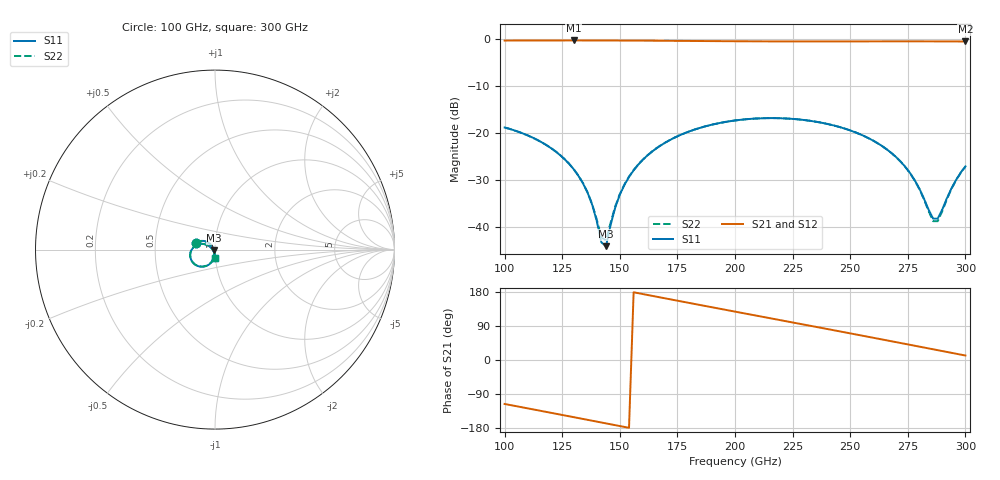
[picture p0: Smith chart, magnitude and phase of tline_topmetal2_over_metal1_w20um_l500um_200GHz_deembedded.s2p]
! Created with skrf 2.2.0 (http://scikit-rf.org).
# GHz S DB R 50.0
! Port[1] = P1
! Port[2] = P2
!freq dBS11 angS11 dBS21 angS21 dBS12 angS12 dBS22 angS22
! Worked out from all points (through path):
!   101 points, 100 GHz to 300 GHz, reference 50 ohm
!   highest |S21| = -0.30 dB at 130 GHz (marker M1); lowest = -0.5 dB at 300 GHz (marker M2)
!   group delay of S21, straight-line fit = 3.22 ps
!   lowest |S11| = -44.0 dB at 144 GHz (marker M3), VSWR 1.01, Z = 49.5 - j0.396 ohm
!   |S11| at or under -10 dB: start of sweep to end of sweep
!   |S22| runs from -42.8 to -16.8 dB; largest |S21 - S12| = 1.6e-14
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100  -18.80 160.4  -0.32 -116.0  -0.32 -116.0  -18.80 160.8
118  -22.50 140.9  -0.31 -136.9  -0.31 -136.9  -22.50 141.7
130  -27.69 130.5  -0.30 -150.9  -0.30 -150.9  -27.67 131.9
134  -30.66 129.1  -0.30 -155.5  -0.30 -155.5  -30.62 131.1
138  -35.22 132.5  -0.31 -160.2  -0.31 -160.2  -35.07 135.8
142  -43.22 165.0  -0.31 -164.9  -0.31 -164.9  -42.21 169.7
144  -44.03 -140.5  -0.31 -167.3  -0.31 -167.3  -42.76 -143.2
148  -35.83 -99.5  -0.32 -171.9  -0.32 -171.9  -35.59 -102.8
152  -31.00 -95.1  -0.33 -176.6  -0.33 -176.6  -30.91 -97.1
158  -26.70 -97.4  -0.34 176.3  -0.34 176.3  -26.66 -98.7
168  -22.54 -106.3  -0.37 164.7  -0.37 164.7  -22.52 -107.0
182  -19.32 -120.8  -0.41 148.4  -0.41 148.4  -19.31 -121.3
200  -17.32 -140.2  -0.47 127.7  -0.47 127.7  -17.31 -140.5
218  -16.82 -159.6  -0.51 107.1  -0.51 107.1  -16.82 -159.8
234  -17.49 -176.5  -0.51 88.7  -0.51 88.7  -17.49 -176.8
254  -20.18 163.2  -0.50 65.7  -0.50 65.7  -20.18 162.9
268  -24.27 151.8  -0.50 49.4  -0.50 49.4  -24.28 151.2
278  -30.01 151.4  -0.50 37.7  -0.50 37.7  -30.07 150.2
286  -38.18 -165.1  -0.50 28.3  -0.50 28.3  -38.72 -166.2
288  -38.16 -136.3  -0.50 25.9  -0.50 25.9  -38.73 -135.4
294  -31.69 -96.1  -0.51 18.9  -0.51 18.9  -31.83 -94.3
300  -27.07 -91.2  -0.52 11.8  -0.52 11.8  -27.12 -90.0
